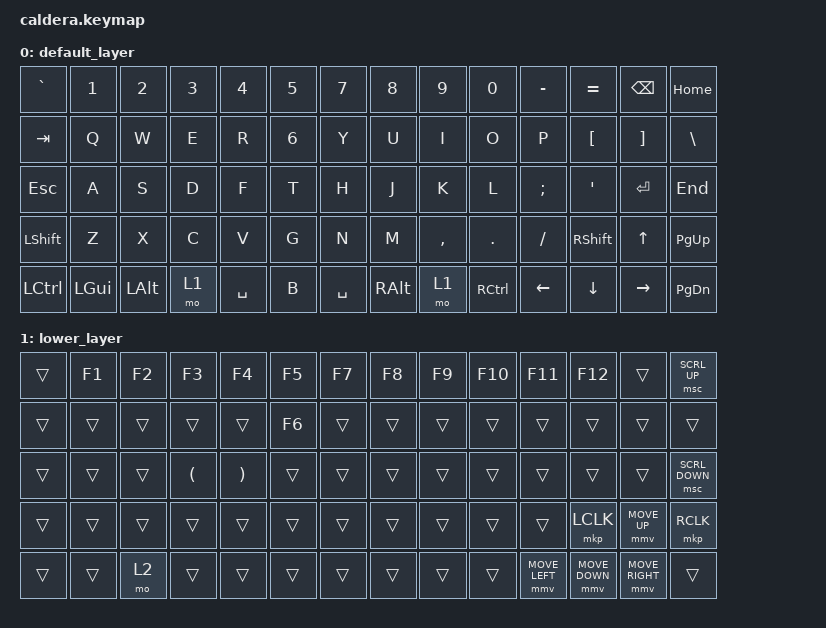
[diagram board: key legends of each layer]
#include <behaviors.dtsi>
#include <dt-bindings/zmk/keys.h>
#include <dt-bindings/zmk/bt.h>
#include <dt-bindings/zmk/pointing.h>

/ {
        keymap {
                compatible = "zmk,keymap";

                default_layer {
                        bindings = <
   &kp GRAVE  &kp N1    &kp N2    &kp N3     &kp N4     &kp N5      &kp N7     &kp N8   &kp N9     &kp N0    &kp MINUS       &kp EQUAL      &kp BSPC        &kp HOME
   &kp TAB    &kp Q     &kp W     &kp E      &kp R      &kp N6      &kp Y      &kp U    &kp I      &kp O     &kp P           &kp LBKT       &kp RBKT        &kp BSLH 
   &kp ESC    &kp A     &kp S     &kp D      &kp F      &kp T       &kp H      &kp J    &kp K      &kp L     &kp SEMI        &kp SQT        &kp ENTER       &kp END
   &kp LSHFT  &kp Z     &kp X     &kp C      &kp V      &kp G       &kp N      &kp M    &kp COMMA  &kp DOT   &kp FSLH        &kp RSHIFT     &kp UP_ARROW    &kp PAGE_UP  
   &kp LCTRL  &kp LGUI  &kp LALT  &mo 1      &kp SPACE  &kp B       &kp SPACE  &kp RALT &mo 1      &kp RCTRL &kp LEFT_ARROW  &kp DOWN_ARROW &kp RIGHT_ARROW &kp PAGE_DOWN
                        >;
                };
                lower_layer {
                        bindings = <
   &trans     &kp F1         &kp F2         &kp F3         &kp F4         &kp F5                 &kp F7    &kp F8    &kp F9   &kp F10  &kp F11           &kp F12         &trans                  &msc SCRL_UP
   &trans     &trans         &trans         &trans         &trans         &kp F6                 &trans    &trans    &trans   &trans   &trans            &trans          &trans                  &trans
   &trans     &trans         &trans         &kp LPAR       &kp RPAR       &trans                 &trans    &trans    &trans   &trans   &trans            &trans          &trans                  &msc SCRL_DOWN
   &trans     &trans         &trans         &trans         &trans         &trans                 &trans    &trans    &trans   &trans   &trans            &mkp LCLK       &mmv MOVE_UP            &mkp RCLK
   &trans     &trans         &mo 2          &trans         &trans         &trans                 &trans    &trans    &trans   &trans   &mmv MOVE_LEFT    &mmv MOVE_DOWN  &mmv MOVE_RIGHT         &trans
                        >;
                };
        };
                even_lower_layer {
                        bindings = <
   &trans    &bt BT_SEL 0   &bt BT_SEL 1   &bt BT_SEL 2   &bt BT_SEL 3   &bt BT_SEL 4           &trans    &trans    &trans   &trans   &trans            &trans          &bt BT_CLR              &trans
   &trans    &trans         &trans         &trans         &trans         &trans                 &trans    &trans    &trans   &trans   &trans            &trans          &trans                  &trans
   &trans    &trans         &trans         &trans         &trans         &trans                 &trans    &trans    &trans   &trans   &trans            &trans          &trans                  &trans
   &trans    &trans         &trans         &trans         &trans         &trans                 &trans    &trans    &trans   &trans   &trans            &trans          &trans                  &trans
   &trans    &trans         &trans         &trans         &trans         &trans                 &trans    &trans    &trans   &trans   &trans            &trans          &trans                  &trans
                        >;
                };
};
